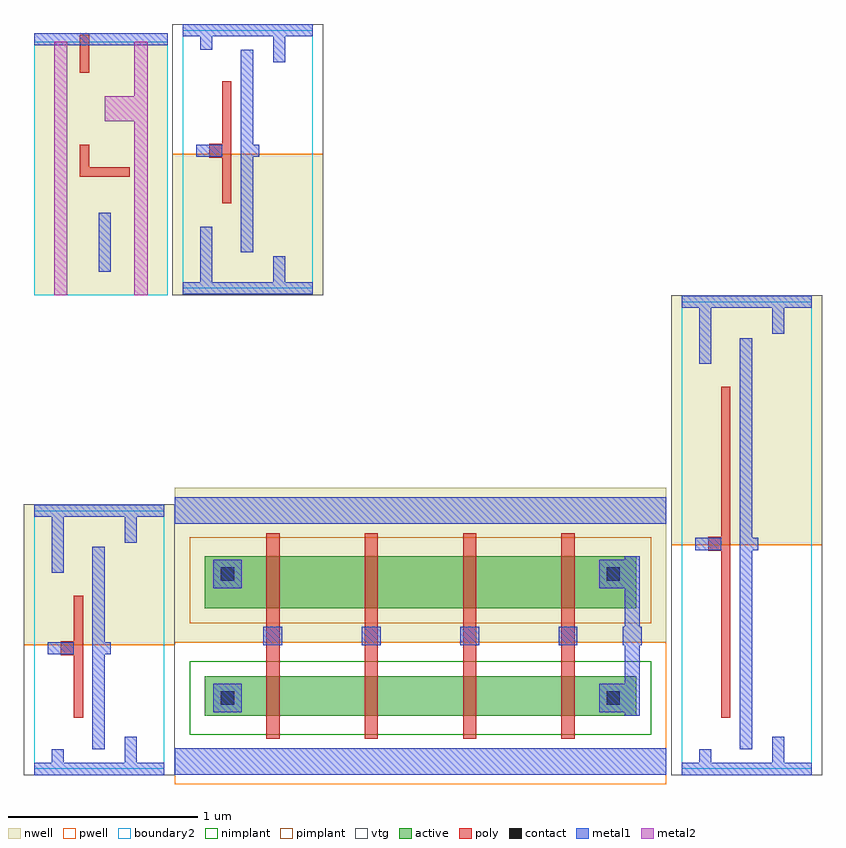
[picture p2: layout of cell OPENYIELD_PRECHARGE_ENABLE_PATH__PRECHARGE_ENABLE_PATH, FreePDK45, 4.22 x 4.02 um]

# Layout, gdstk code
import gdstk
lib = gdstk.Library(unit=1e-6, precision=5e-10)
def R(c, l, rs):  # rectangles x0, y0, x1, y1
    for r in rs: c.add(gdstk.rectangle(r[:2], r[2:], *l))
def A(c, l, x, y, w, h, nx, ny, dx, dy):  # array of equal rectangles
    R(c, l, [(x+i*dx, y+j*dy, x+i*dx+w, y+j*dy+h) for i in range(nx) for j in range(ny)])
active = (1, 0)
pwell = (2, 0)
nwell = (3, 0)
nimplant = (4, 0)
pimplant = (5, 0)
vtg = (6, 0)
poly = (9, 0)
contact = (10, 0)
metal1 = (11, 0)
metal2 = (13, 0)
boundary2 = (239, 0)

openyield_precharge_enab = lib.new_cell('OPENYIELD_PRECHARGE_ENABLE_PATH__gen_inv')
R(openyield_precharge_enab, pwell, [(-0.055,-0.033,0.743,0.655)])
R(openyield_precharge_enab, nwell, [(-0.055,0.655,0.743,1.4)])
R(openyield_precharge_enab, vtg, [(-0.055,-0.033,0.743,0.655), (-0.055,0.655,0.743,1.4)])
R(openyield_precharge_enab, poly, [(0.208,0.27,0.258,0.915), (0.14,0.6,0.208,0.675)])
R(openyield_precharge_enab, metal1, [(0,-0.033,0.687,0.033), (0.092,-0.033,0.157,0.103), (0.478,0,0.542,0.17), (0.307,0.103,0.372,1.173), (0.072,0.605,0.208,0.67), (0.34,0.605,0.405,0.67), (0.092,1.038,0.157,1.397), (0.478,1.195,0.542,1.365), (0,1.332,0.687,1.397)])
R(openyield_precharge_enab, boundary2, [(0,0,0.687,1.365), (0,0,0.687,1.365)])
openyield_precharge_enab.add(gdstk.Label('A', (0.14,0.638), layer=11, texttype=0))
openyield_precharge_enab.add(gdstk.Label('Z', (0.372,0.638), layer=11, texttype=0))
openyield_precharge_enab.add(gdstk.Label('gnd', (0.345,0), layer=11, texttype=0))
openyield_precharge_enab.add(gdstk.Label('vdd', (0.345,1.365), layer=11, texttype=0))

c_openyield_precharge_enab = lib.new_cell('OPENYIELD_PRECHARGE_ENABLE_PATH__gen_nand4')
R(c_openyield_precharge_enab, active, [(0.16,0.36,2.44,0.57), (0.16,0.93,2.44,1.205)])
R(c_openyield_precharge_enab, pwell, [(0,0,2.6,0.75)])
R(c_openyield_precharge_enab, nwell, [(0,0.75,2.6,1.565)])
R(c_openyield_precharge_enab, nimplant, [(0.08,0.26,2.52,0.65)])
R(c_openyield_precharge_enab, pimplant, [(0.08,0.85,2.52,1.305)])
A(c_openyield_precharge_enab, poly, 0.485, 0.24, 0.07, 1.085, 4, 1, 0.52, 0)
R(c_openyield_precharge_enab, contact, [(0.245,0.42,0.315,0.49), (2.285,0.42,2.355,0.49), (0.245,1.075,0.315,1.145), (2.285,1.075,2.355,1.145)])
A(c_openyield_precharge_enab, metal1, 0.47, 0.733, 0.1, 0.099, 4, 1, 0.52, 0)
R(c_openyield_precharge_enab, metal1, [(0,0.05,2.6,0.19), (1.25,0.07,1.35,0.17), (2.38,0.36,2.46,1.205), (0.205,0.38,0.355,0.53), (2.245,0.38,2.395,0.53), (2.37,0.733,2.47,0.832), (0.205,1.035,0.355,1.185), (2.245,1.035,2.395,1.185), (0,1.375,2.6,1.515), (1.25,1.395,1.35,1.495)])

c_openyield_precharge_enab_ = lib.new_cell('OPENYIELD_PRECHARGE_ENABLE_PATH__gen_delay_inv')
R(c_openyield_precharge_enab_, pwell, [(-0.055,-0.033,0.743,1.185)])
R(c_openyield_precharge_enab_, nwell, [(-0.055,1.185,0.743,2.505)])
R(c_openyield_precharge_enab_, vtg, [(-0.055,-0.033,0.743,1.185), (-0.055,1.185,0.743,2.505)])
R(c_openyield_precharge_enab_, poly, [(0.208,0.27,0.258,2.02), (0.14,1.153,0.208,1.228)])
R(c_openyield_precharge_enab_, metal1, [(0,-0.033,0.687,0.033), (0.092,-0.033,0.157,0.103), (0.478,0,0.542,0.17), (0.307,0.103,0.372,2.277), (0.072,1.157,0.208,1.222), (0.34,1.157,0.405,1.222), (0.092,2.143,0.157,2.502), (0.478,2.3,0.542,2.47), (0,2.437,0.687,2.502)])
R(c_openyield_precharge_enab_, boundary2, [(0,0,0.687,2.47), (0,0,0.687,2.47)])
c_openyield_precharge_enab_.add(gdstk.Label('A', (0.14,1.19), layer=11, texttype=0))
c_openyield_precharge_enab_.add(gdstk.Label('Z', (0.372,1.19), layer=11, texttype=0))
c_openyield_precharge_enab_.add(gdstk.Label('gnd', (0.345,0), layer=11, texttype=0))
c_openyield_precharge_enab_.add(gdstk.Label('vdd', (0.345,2.47), layer=11, texttype=0))

c_openyield_precharge_enab__ = lib.new_cell('OPENYIELD_PRECHARGE_ENABLE_PATH__gen_precharge')
R(c_openyield_precharge_enab__, nwell, [(0,0,0.705,1.34)])
R(c_openyield_precharge_enab__, poly, [(0.24,-0.037,0.29,0.013), (0.265,-0.037,0.29,0.013), (0.24,-0.013,0.29,0.165), (0.24,0.545,0.29,0.715), (0.24,0.665,0.505,0.715)])
R(c_openyield_precharge_enab__, metal1, [(0,-0.045,0.705,0.02), (0.34,0.905,0.405,1.185), (0.34,1.153,0.405,1.218)])
R(c_openyield_precharge_enab__, metal2, [(0.105,0,0.175,1.34), (0.105,0,0.175,1.34), (0.53,0,0.6,1.34), (0.53,0,0.6,1.34), (0.14,0.288,0.157,0.422), (0.372,0.288,0.565,0.422), (0.14,0.837,0.157,0.972), (0.565,0.837,0.588,0.972)])
R(c_openyield_precharge_enab__, boundary2, [(0,0,0.705,1.34)])
c_openyield_precharge_enab__.add(gdstk.Label('en_bar', (0.352,-0.013), layer=11, texttype=0))
c_openyield_precharge_enab__.add(gdstk.Label('vdd', (0.372,1.185), layer=11, texttype=0))
c_openyield_precharge_enab__.add(gdstk.Label('bl', (0.14,0.67), layer=13, texttype=0))
c_openyield_precharge_enab__.add(gdstk.Label('br', (0.565,0.67), layer=13, texttype=0))

c_openyield_precharge_enab___ = lib.new_cell('OPENYIELD_PRECHARGE_ENABLE_PATH__PRECHARGE_ENABLE_PATH')
c_openyield_precharge_enab___.add(gdstk.Reference(openyield_precharge_enab, (0.08,0.08)))
c_openyield_precharge_enab___.add(gdstk.Reference(c_openyield_precharge_enab, (0.822,0)))
c_openyield_precharge_enab___.add(gdstk.Reference(c_openyield_precharge_enab_, (3.503,0.08)))
c_openyield_precharge_enab___.add(gdstk.Reference(c_openyield_precharge_enab__, (0.08,3.925), x_reflection=True))
c_openyield_precharge_enab___.add(gdstk.Reference(openyield_precharge_enab, (0.865,3.985), x_reflection=True))

lib.write_gds('OPENYIELD_PRECHARGE_ENABLE_PATH__PRECHARGE_ENABLE_PATH.gds')
